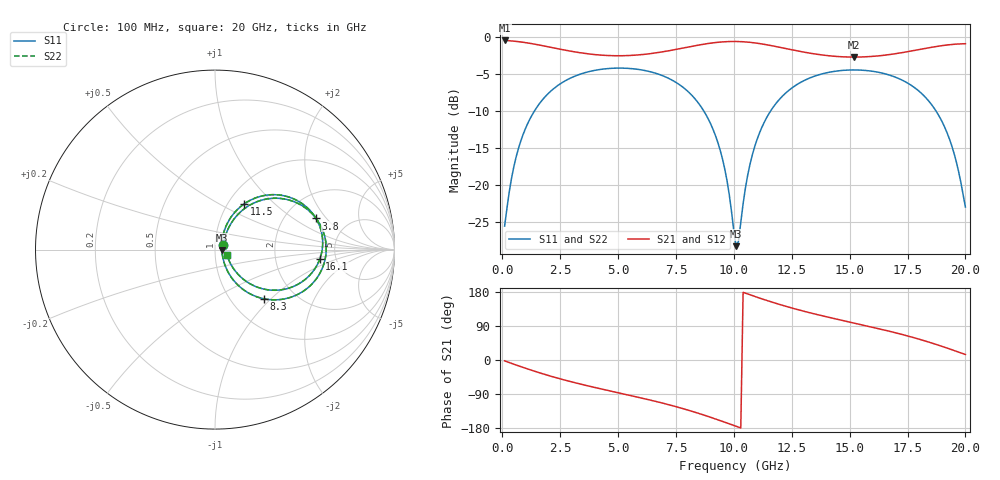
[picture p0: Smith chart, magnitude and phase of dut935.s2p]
! Touchstone file exported from HFSS 2026.1.0
!  File:  C:/ffzhzh/LocalFiles/Ansys_Project_Files/temp_train_TSV_RDL_935_1783280996_38704.aedt
!  Generated:  04:07:18 AM Jul  6, 2026
!  Design:  TSV_RDL
!  Project:  temp_train_TSV_RDL_935_1783280996_38704
! Variables:
!  h_bsmrdl = 3.16um
!  h_ox = 20um
!  h_rdl = 5um
!  h_sub = 70.32um
!  h_tmrdl = 3.01um
!  h_tsv = 70.32um
!  h_via = 3um
!  l_bsmrdl = 964.84um
!  l_sub = 5903.07um
!  l_tmrdl = 627.8um
!  m_sub = 200um
!  pitch = 45.52um
!  r_tsv = 2.78um
!  s_tmrdl = 10um
!  w_bsmrdl = 20.73um
!  w_sub = 500um
!  w_tmrdl = 11.72um
!  x_tsv_center1 = 633.66um
!  x_tsv_center2 = 1619.23um
!  x_tsv_center3 = 2258.75um
!  x_tsv_center4 = 3244.32um
!  x_tsv_center5 = 3883.84um
!  x_tsv_center6 = 4869.41um
# GHz S MA R 50.000000
! Terminal data exported
! Port[1] = TM_RDL1_1_T1
! Port[2] = TM_RDL5_1_T1
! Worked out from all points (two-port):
!   200 points, 100 MHz to 20 GHz, reference 50 ohm
!   highest |S21| = -0.41 dB at 100 MHz (marker M1); lowest = -2.7 dB at 15.2 GHz (marker M2)
!   |S21| within 3 dB of the highest: start of sweep to end of sweep
!   lowest |S11| = -28.3 dB at 10.1 GHz (marker M3), VSWR 1.08, Z = 54 - j0.501 ohm
!   |S11| at or under -10 dB: start of sweep to 1.382 GHz; 8.709 GHz to 11.58 GHz (2.873 GHz wide, 28.3 % of centre); 18.74 GHz to end of sweep
!   |S22| runs from -28.4 to -4.2 dB; largest |S21 - S12| = 1.6e-14
!   S11 on the Smith chart (normalised r, x): 100 MHz: 1.10, +0.05; 3.8 GHz: 2.96, +1.57; 8.3 GHz: 1.41, -0.91; 11.5 GHz: 1.19, +0.66; 16.1 GHz: 3.73, -0.60; 20 GHz: 1.14, -0.06
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0.1  0.05278 27.2  0.9537 -2.3  0.9537 -2.3  0.05278 27.2
! Gamma 0 0 0 0
! Port Impedance 50 0 50 0
0.6  0.1556 58.4  0.94 -13.3  0.94 -13.3  0.1556 58.4
1.2  0.2816 54.3  0.9117 -25.8  0.9117 -25.8  0.2816 54.2
2.2  0.4473 39.8  0.8504 -44.6  0.8504 -44.6  0.4473 39.8
3.5  0.5729 21.1  0.7818 -65.4  0.7818 -65.4  0.5729 21.1
3.8  0.5896 17.1  0.771 -69.8  0.771 -69.8  0.5896 17.1
5.3  0.6187 -2.2  0.7525 -90.4  0.7525 -90.4  0.6187 -2.3
6.8  0.56 -22.2  0.7931 -111.9  0.7931 -111.9  0.56 -22.3
8.3  0.3876 -45.0  0.8769 -137.4  0.8769 -137.4  0.3876 -45.1
9.4  0.1745 -59.6  0.9298 -159.7  0.9298 -159.7  0.1744 -59.8
9.7  0.1083 -57.9  0.9366 -166.2  0.9366 -166.2  0.1082 -58.1
10.1  0.03859 -6.9  0.9387 -174.9  0.9387 -174.9  0.03811 -7.1
10.2  0.04167 25.2  0.9378 -177.1  0.9378 -177.1  0.04121 25.4
10.7  0.1389 64.6  0.9262 172.1  0.9262 172.1  0.1387 64.8
11.5  0.3016 57.4  0.8871 155.6  0.8871 155.6  0.3015 57.5
13.4  0.5405 29.4  0.7769 122.9  0.7769 122.9  0.5405 29.5
15.2  0.6022 6.2  0.736 97.4  0.736 97.4  0.6022 6.2
16.1  0.5862 -5.2  0.7465 84.9  0.7465 84.9  0.5862 -5.2
16.7  0.5572 -13.0  0.7646 76.2  0.7646 76.2  0.5571 -13.0
18.8  0.3051 -42.3  0.8708 39.8  0.8708 39.8  0.3051 -42.3
19.5  0.1661 -46.7  0.8984 25.4  0.8984 25.4  0.1661 -46.6
20  0.07108 -23.0  0.9062 14.5  0.9062 14.5  0.07108 -23.0
